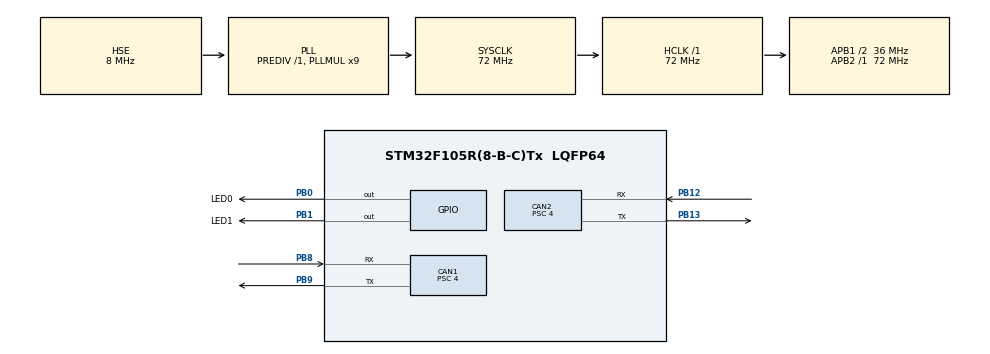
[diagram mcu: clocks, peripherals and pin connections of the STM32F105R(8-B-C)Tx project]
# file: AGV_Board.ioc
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CAN1.ABOM=ENABLE
CAN1.BS1=CAN_BS1_5TQ
CAN1.BS2=CAN_BS2_3TQ
CAN1.CalculateBaudRate=1000000
CAN1.CalculateTimeBit=1000
CAN1.CalculateTimeQuantum=111.11111111111111
CAN1.Mode=CAN_MODE_NORMAL
CAN1.Prescaler=4
CAN2.BS1=CAN_BS1_3TQ
CAN2.BS2=CAN_BS2_5TQ
CAN2.CalculateBaudRate=1000000
CAN2.CalculateTimeBit=1000
CAN2.CalculateTimeQuantum=111.11111111111111
CAN2.Prescaler=4
Mcu.Family=STM32F1
Mcu.Name=STM32F105R(8-B-C)Tx
Mcu.Package=LQFP64
NVIC.CAN1_RX0_IRQn=true\:0\:0\:false\:false\:true\:true\:true\:true
NVIC.CAN2_RX0_IRQn=true\:0\:0\:false\:false\:true\:true\:true\:true
NVIC.PriorityGroup=NVIC_PRIORITYGROUP_4
NVIC.TIM3_IRQn=true\:0\:0\:false\:false\:true\:true\:true\:true
PA13.Mode=Serial_Wire
PA13.Signal=SYS_JTMS-SWDIO
PA14.Mode=Serial_Wire
PA14.Signal=SYS_JTCK-SWCLK
PB0.GPIO_Label=LED0
PB0.GPIO_PuPd=GPIO_PULLDOWN
PB0.PinState=GPIO_PIN_RESET
PB0.Signal=GPIO_Output
PB1.GPIO_Label=LED1
PB1.GPIO_PuPd=GPIO_PULLDOWN
PB1.PinState=GPIO_PIN_RESET
PB1.Signal=GPIO_Output
PB12.Mode=CAN_Activate
PB12.Signal=CAN2_RX
PB13.Mode=CAN_Activate
PB13.Signal=CAN2_TX
PB8.Mode=CAN_Activate
PB8.Signal=CAN1_RX
PB9.Mode=CAN_Activate
PB9.Signal=CAN1_TX
PD0-OSC_IN.Mode=HSE-External-Oscillator
PD0-OSC_IN.Signal=RCC_OSC_IN
PD1-OSC_OUT.Mode=HSE-External-Oscillator
PD1-OSC_OUT.Signal=RCC_OSC_OUT
ProjectManager.HeapSize=0x200
ProjectManager.StackSize=0x400
ProjectManager.TargetToolchain=MDK-ARM V5.32
RCC.AHBFreq_Value=72000000
RCC.APB1CLKDivider=RCC_HCLK_DIV2
RCC.APB1Freq_Value=36000000
RCC.APB1TimFreq_Value=72000000
RCC.APB2Freq_Value=72000000
RCC.APB2TimFreq_Value=72000000
RCC.HCLKFreq_Value=72000000
RCC.PLLMUL=RCC_PLL_MUL9
RCC.PLLSourceVirtual=RCC_PLLSOURCE_HSE
RCC.SYSCLKFreq_VALUE=72000000
RCC.SYSCLKSource=RCC_SYSCLKSOURCE_PLLCLK
RCC.USBFreq_Value=48000000
STMicroelectronics.X-CUBE-ALGOBUILD.1.3.0.LibraryCcDSPOoLibraryJjDSPOoLibrary=true
TIM3.Period=1000
TIM3.Prescaler=72
VP_STMicroelectronics.X-CUBE-ALGOBUILD_VS_DSPOoLibraryJjLibrary_1.3.0_1.3.0.Mode=DSPOoLibraryJjLibrary
VP_TIM3_VS_ClockSourceINT.Mode=Internal
board=custom

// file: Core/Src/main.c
/* USER CODE BEGIN Header */
/**
  ******************************************************************************
  * @file           : main.c
  * @brief          : Main program body
  ******************************************************************************
  * @attention
  *
  * Copyright (c) 2023 STMicroelectronics.
  * All rights reserved.
  *
  * This software is licensed under terms that can be found in the LICENSE file
  * in the root directory of this software component.
  * If no LICENSE file comes with this software, it is provided AS-IS.
  *
  ******************************************************************************
  */
/* USER CODE END Header */
#include "main.h"
#include "can.h"
#include "tim.h"
#include "gpio.h"

void SystemClock_Config(void);

/* USER CODE BEGIN 0 */

void canTX(void)
{
	uint8_t data[8];
	uint8_t status;
	CAN_TxHeaderTypeDef CAN_TxHeaderStruct;
	uint32_t  pTxMailbox;

    CAN_TxHeaderStruct.StdId=0x200;
    CAN_TxHeaderStruct.ExtId=0;
    CAN_TxHeaderStruct.DLC=8;
    CAN_TxHeaderStruct.IDE=CAN_ID_STD;
    CAN_TxHeaderStruct.RTR=CAN_RTR_DATA;
    CAN_TxHeaderStruct.TransmitGlobalTime=DISABLE;

	data[0] = 0xFF;
	data[1] = 0x01;
	data[2] = 0xFF;
	data[3] = 0x01;
	data[4] = 0xFF;
	data[5] = 0x01;
	data[6] = 0xFF;
	data[7] = 0x01;

	status = HAL_CAN_AddTxMessage(&hcan1,&CAN_TxHeaderStruct,data,&pTxMailbox);
	status = HAL_CAN_AddTxMessage(&hcan2,&CAN_TxHeaderStruct,data,&pTxMailbox);
}

/* USER CODE END 0 */

int main(void)
{

  /* MCU Configuration--------------------------------------------------------*/

  /* Reset of all peripherals, Initializes the Flash interface and the Systick. */
  HAL_Init();

  /* Configure the system clock */
  SystemClock_Config();

  /* Initialize all configured peripherals */
  MX_GPIO_Init();
  MX_CAN1_Init();
  MX_CAN2_Init();
  MX_TIM3_Init();
  /* USER CODE BEGIN 2 */
  platform_filtter_config_setting();
  HAL_CAN_Start(&hcan1);
  HAL_CAN_Start(&hcan2);
  HAL_CAN_ActivateNotification(&hcan1, CAN_IT_RX_FIFO0_MSG_PENDING);
  HAL_CAN_ActivateNotification(&hcan2, CAN_IT_RX_FIFO0_MSG_PENDING);

  SW_control_task_init();
  /* USER CODE END 2 */

  /* Infinite loop */
  while (1)
  {

    /* USER CODE BEGIN 3 */
		// 目�?还懒得丢到定时器中断里
		TASK_SCHEDULER();
		HAL_Delay(4);
		//tick_cnt++;
  }
  /* USER CODE END 3 */
}

void SystemClock_Config(void)
{
  RCC_OscInitTypeDef RCC_OscInitStruct = {0};
  RCC_ClkInitTypeDef RCC_ClkInitStruct = {0};

  /** Initializes the RCC Oscillators according to the specified parameters
  * in the RCC_OscInitTypeDef structure.
  */
  RCC_OscInitStruct.OscillatorType = RCC_OSCILLATORTYPE_HSE;
  RCC_OscInitStruct.HSEState = RCC_HSE_ON;
  RCC_OscInitStruct.HSEPredivValue = RCC_HSE_PREDIV_DIV1;
  RCC_OscInitStruct.HSIState = RCC_HSI_ON;
  RCC_OscInitStruct.Prediv1Source = RCC_PREDIV1_SOURCE_HSE;
  RCC_OscInitStruct.PLL.PLLState = RCC_PLL_ON;
  RCC_OscInitStruct.PLL.PLLSource = RCC_PLLSOURCE_HSE;
  RCC_OscInitStruct.PLL.PLLMUL = RCC_PLL_MUL9;
  RCC_OscInitStruct.PLL2.PLL2State = RCC_PLL_NONE;
  if (HAL_RCC_OscConfig(&RCC_OscInitStruct) != HAL_OK)
  {
    Error_Handler();
  }

  /** Initializes the CPU, AHB and APB buses clocks
  */
  RCC_ClkInitStruct.ClockType = RCC_CLOCKTYPE_HCLK|RCC_CLOCKTYPE_SYSCLK
                              |RCC_CLOCKTYPE_PCLK1|RCC_CLOCKTYPE_PCLK2;
  RCC_ClkInitStruct.SYSCLKSource = RCC_SYSCLKSOURCE_PLLCLK;
  RCC_ClkInitStruct.AHBCLKDivider = RCC_SYSCLK_DIV1;
  RCC_ClkInitStruct.APB1CLKDivider = RCC_HCLK_DIV2;
  RCC_ClkInitStruct.APB2CLKDivider = RCC_HCLK_DIV1;

  if (HAL_RCC_ClockConfig(&RCC_ClkInitStruct, FLASH_LATENCY_2) != HAL_OK)
  {
    Error_Handler();
  }

  /** Configure the Systick interrupt time
  */
  __HAL_RCC_PLLI2S_ENABLE();
}

void Error_Handler(void)
{
  __disable_irq();
  while (1)
  {
  }
}
